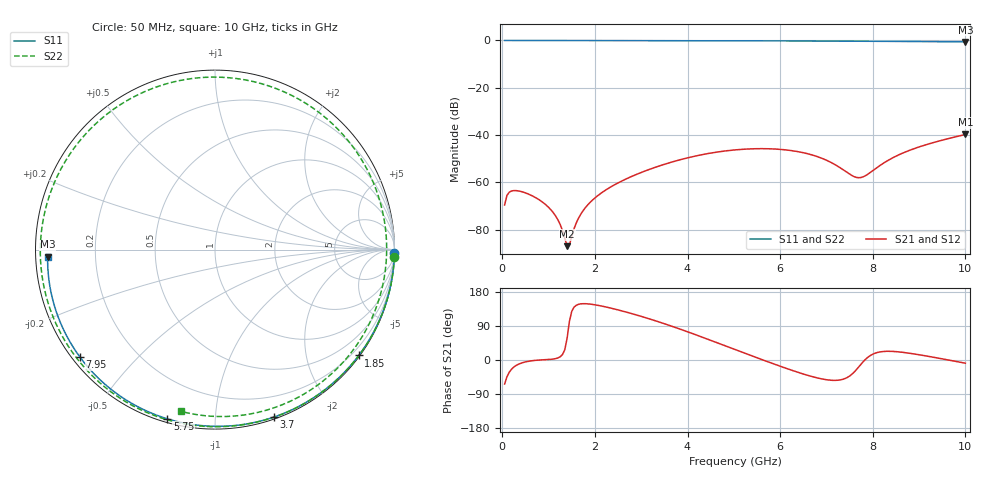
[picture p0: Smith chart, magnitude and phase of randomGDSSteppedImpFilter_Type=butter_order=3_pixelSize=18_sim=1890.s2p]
! freq	dB(S11)	phase(S11)	dB(S12)	phase(S12)
!  dB(S21)	phase(S21)	dB(S22)	phase(S22)
!S-par simulation data
#  GHz  S  DB  R 50
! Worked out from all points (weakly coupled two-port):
!   200 points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, 50 MHz to 10 GHz, reference 50 ohm
!   highest |S21| = -39.76 dB at 10 GHz (marker M1); lowest = -87.0 dB at 1.4 GHz (marker M2)
!   lowest |S11| = -0.6 dB at 10 GHz (marker M3), VSWR 28.99, Z = 1.73 - j1.06 ohm
!   |S11| at or under -10 dB: nowhere
!   |S22| runs from -0.7 to 0.0 dB; largest |S21 - S12| = 0
!   S11 on the Smith chart (normalised r, x): 50 MHz: open; 1.85 GHz: 0.03, -3.04; 3.7 GHz: 0.02, -1.41; 5.75 GHz: 0.02, -0.76; 7.95 GHz: 0.02, -0.35; 10 GHz: 0.03, -0.02
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0.05  -0.00 -1.0  -69.56 -63.5  -69.56 -63.5  -0.00 -2.3
0.1  -0.00 -2.0  -65.54 -44.4  -65.54 -44.4  -0.00 -4.6
0.2  -0.00 -4.0  -63.64 -24.1  -63.64 -24.1  -0.00 -9.2
0.55  -0.01 -11.0  -64.82 -3.7  -64.82 -3.7  -0.02 -25.1
0.95  -0.02 -18.9  -69.65 0.9  -69.65 0.9  -0.05 -43.1
1.3  -0.03 -25.7  -80.35 14.4  -80.35 14.4  -0.07 -58.7
1.4  -0.03 -27.7  -86.97 57.7  -86.97 57.7  -0.08 -63.1
1.55  -0.04 -30.6  -79.57 139.6  -79.57 139.6  -0.09 -69.7
1.75  -0.04 -34.5  -71.82 148.6  -71.82 148.6  -0.10 -78.5
1.85  -0.05 -36.4  -69.41 148.1  -69.41 148.1  -0.11 -82.8
2.6  -0.06 -50.6  -59.23 129.0  -59.23 129.0  -0.15 -115.5
3.4  -0.09 -65.3  -52.99 99.8  -52.99 99.8  -0.19 -150.9
3.7  -0.10 -70.6  -51.19 87.4  -51.19 87.4  -0.21 -164.5
4.4  -0.12 -82.9  -47.96 56.5  -47.96 56.5  -0.26 162.2
5.05  -0.14 -94.0  -46.22 26.5  -46.22 26.5  -0.31 129.1
5.75  -0.18 -105.7  -45.79 -5.4  -45.79 -5.4  -0.34 91.2
6.7  -0.24 -121.3  -48.46 -44.1  -48.46 -44.1  -0.37 38.8
7.65  -0.31 -136.7  -57.92 -25.0  -57.92 -25.0  -0.39 -9.5
7.95  -0.34 -141.6  -55.77 12.0  -55.77 12.0  -0.41 -23.3
8.35  -0.38 -148.2  -50.48 23.0  -50.48 23.0  -0.44 -40.6
9.15  -0.47 -161.9  -44.08 10.7  -44.08 10.7  -0.54 -71.9
10  -0.60 -177.6  -39.76 -8.5  -39.76 -8.5  -0.72 -101.9
